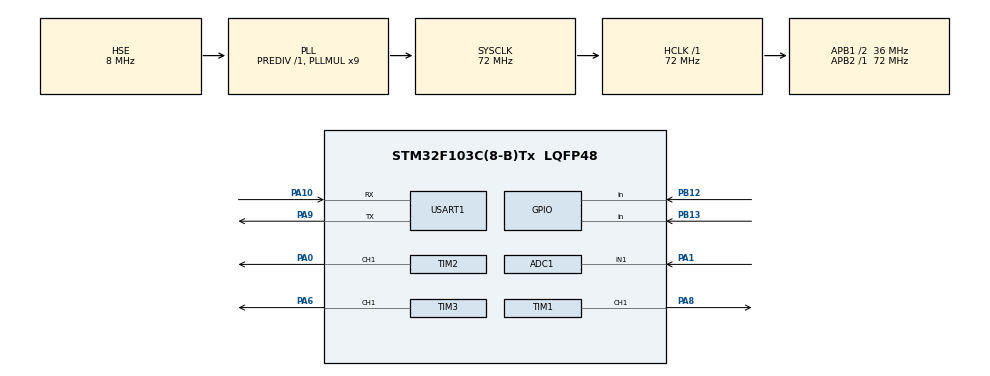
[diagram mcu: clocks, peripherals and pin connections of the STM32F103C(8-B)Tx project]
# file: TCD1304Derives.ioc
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ADC1.Channel-0\#ChannelRegularConversion=ADC_CHANNEL_1
ADC1.ContinuousConvMode=DISABLE
ADC1.ExternalTrigConv=ADC_EXTERNALTRIGCONV_T4_CC4
ADC1.NbrOfConversionFlag=1
ADC1.Rank-0\#ChannelRegularConversion=1
ADC1.SamplingTime-0\#ChannelRegularConversion=ADC_SAMPLETIME_1CYCLE_5
ADC1.master=1
Dma.ADC1.0.Direction=DMA_PERIPH_TO_MEMORY
Dma.ADC1.0.Instance=DMA1_Channel1
Dma.ADC1.0.MemDataAlignment=DMA_MDATAALIGN_HALFWORD
Dma.ADC1.0.MemInc=DMA_MINC_ENABLE
Dma.ADC1.0.Mode=DMA_NORMAL
Dma.ADC1.0.PeriphDataAlignment=DMA_PDATAALIGN_HALFWORD
Dma.ADC1.0.PeriphInc=DMA_PINC_DISABLE
Dma.ADC1.0.Priority=DMA_PRIORITY_VERY_HIGH
Dma.MEMTOMEM.2.Direction=DMA_MEMORY_TO_MEMORY
Dma.MEMTOMEM.2.Instance=DMA1_Channel2
Dma.MEMTOMEM.2.MemDataAlignment=DMA_MDATAALIGN_BYTE
Dma.MEMTOMEM.2.MemInc=DMA_MINC_ENABLE
Dma.MEMTOMEM.2.Mode=DMA_NORMAL
Dma.MEMTOMEM.2.PeriphDataAlignment=DMA_PDATAALIGN_BYTE
Dma.MEMTOMEM.2.PeriphInc=DMA_PINC_ENABLE
Dma.MEMTOMEM.2.Priority=DMA_PRIORITY_HIGH
Dma.Request0=ADC1
Dma.Request1=USART1_TX
Dma.Request2=MEMTOMEM
Dma.USART1_TX.1.Direction=DMA_MEMORY_TO_PERIPH
Dma.USART1_TX.1.Instance=DMA1_Channel4
Dma.USART1_TX.1.MemDataAlignment=DMA_MDATAALIGN_BYTE
Dma.USART1_TX.1.MemInc=DMA_MINC_ENABLE
Dma.USART1_TX.1.Mode=DMA_NORMAL
Dma.USART1_TX.1.PeriphDataAlignment=DMA_PDATAALIGN_BYTE
Dma.USART1_TX.1.PeriphInc=DMA_PINC_DISABLE
Dma.USART1_TX.1.Priority=DMA_PRIORITY_LOW
Mcu.Family=STM32F1
Mcu.Name=STM32F103C(8-B)Tx
Mcu.Package=LQFP48
NVIC.DMA1_Channel1_IRQn=true\:0\:0\:false\:false\:true\:false\:true\:true
NVIC.DMA1_Channel4_IRQn=true\:0\:0\:false\:false\:true\:false\:true\:true
NVIC.PriorityGroup=NVIC_PRIORITYGROUP_4
NVIC.USART1_IRQn=true\:0\:0\:false\:false\:true\:true\:true\:true
PA0-WKUP.Signal=S_TIM2_CH1_ETR
PA1.Signal=ADCx_IN1
PA10.Mode=Asynchronous
PA10.Signal=USART1_RX
PA13.Mode=Serial_Wire
PA13.Signal=SYS_JTMS-SWDIO
PA14.Mode=Serial_Wire
PA14.Signal=SYS_JTCK-SWCLK
PA6.Signal=S_TIM3_CH1
PA8.Signal=S_TIM1_CH1
PA9.Mode=Asynchronous
PA9.Signal=USART1_TX
PB12.GPIO_PuPd=GPIO_PULLUP
PB12.Signal=GPIO_Input
PB13.GPIO_PuPd=GPIO_PULLUP
PB13.Signal=GPIO_Input
PD0-OSC_IN.Mode=HSE-External-Oscillator
PD0-OSC_IN.Signal=RCC_OSC_IN
PD1-OSC_OUT.Mode=HSE-External-Oscillator
PD1-OSC_OUT.Signal=RCC_OSC_OUT
ProjectManager.HeapSize=0x200
ProjectManager.StackSize=0x400
ProjectManager.TargetToolchain=STM32CubeIDE
RCC.ADCPresc=RCC_ADCPCLK2_DIV6
RCC.AHBFreq_Value=72000000
RCC.APB1CLKDivider=RCC_HCLK_DIV2
RCC.APB1Freq_Value=36000000
RCC.APB1TimFreq_Value=72000000
RCC.APB2Freq_Value=72000000
RCC.APB2TimFreq_Value=72000000
RCC.HCLKFreq_Value=72000000
RCC.PLLMUL=RCC_PLL_MUL9
RCC.PLLSourceVirtual=RCC_PLLSOURCE_HSE
RCC.SYSCLKFreq_VALUE=72000000
RCC.SYSCLKSource=RCC_SYSCLKSOURCE_PLLCLK
RCC.USBFreq_Value=72000000
SH.ADCx_IN1.0=ADC1_IN1,IN1
SH.S_TIM1_CH1.0=TIM1_CH1,PWM Generation1 CH1
SH.S_TIM2_CH1_ETR.0=TIM2_CH1,PWM Generation1 CH1
SH.S_TIM3_CH1.0=TIM3_CH1,PWM Generation1 CH1
TIM1.Channel-PWM\ Generation1\ CH1=TIM_CHANNEL_1
TIM1.OCPolarity_1=TIM_OCPOLARITY_HIGH
TIM1.Period=748
TIM1.Pulse-PWM\ Generation1\ CH1=100
TIM2.Channel-PWM\ Generation1\ CH1=TIM_CHANNEL_1
TIM2.Period=36 - 1 
TIM2.Pulse-PWM\ Generation1\ CH1=17
TIM3.Channel-PWM\ Generation1\ CH1=TIM_CHANNEL_1
TIM3.OC1Preload_PWM=ENABLE
TIM3.OCPolarity_1=TIM_OCPOLARITY_LOW
TIM3.Period=424
TIM3.Pulse-PWM\ Generation1\ CH1=136
TIM4.Channel-PWM\ Generation4\ No\ Output=TIM_CHANNEL_4
TIM4.Period=143
TIM4.Pulse-PWM\ Generation4\ No\ Output=71
USART1.VirtualMode=VM_ASYNC
VP_TIM1_VS_ClockSourceINT.Mode=Internal
VP_TIM1_VS_OPM.Mode=OPM_bit
VP_TIM2_VS_ClockSourceINT.Mode=Internal
VP_TIM3_VS_ClockSourceINT.Mode=Internal
VP_TIM3_VS_OPM.Mode=OPM_bit
VP_TIM4_VS_ClockSourceINT.Mode=Internal
VP_TIM4_VS_no_output4.Mode=PWM Generation4 No Output
board=custom

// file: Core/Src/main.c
/* USER CODE BEGIN Header */
/**
  ******************************************************************************
  * @file           : main.c
  * @brief          : Main program body
  ******************************************************************************
  * @attention
  *
  * Copyright (c) 2023 STMicroelectronics.
  * All rights reserved.
  *
  * This software is licensed under terms that can be found in the LICENSE file
  * in the root directory of this software component.
  * If no LICENSE file comes with this software, it is provided AS-IS.
  *
  ******************************************************************************
  */
/* USER CODE END Header */
#include "main.h"
#include "adc.h"
#include "dma.h"
#include "tim.h"
#include "usart.h"
#include "gpio.h"

/* USER CODE BEGIN Includes */
#include "string.h"
#include "Gaussian.h"
#include "KeyScan.h"
#include "OLED.h"

volatile uint8_t DMA_FLAG = 0;
volatile uint16_t CCD_DataBUff[CCD_LENGTH];
volatile uint8_t Uart_CCD_DataBUff[CCD_LENGTH * 2];

volatile CCD_STATUS CCD_Status = IDLE;
Guassian BaselineGaussian_Buff[10] = {0};
Guassian TestLiquidGaussian_Buff[10] = {0};

Guassian BaselineGaussian = {0};
Guassian TestLiquidGaussian = {0};
Guassian ErrGaussian = {0};

//volatile uint16_t CCD_DataBUff[CCD_LENGTH];
/* USER CODE END Includes */

void SystemClock_Config(void);

/* USER CODE BEGIN PFP */
void CCD_GetData(Guassian *_Guassian);

void OLED_ShowCCD_Status(CCD_STATUS Status);

void Get_Err(Guassian *Err, Guassian *B, Guassian *T);
/* USER CODE END PFP */

int main(void) {

    /* MCU Configuration--------------------------------------------------------*/

    /* Reset of all peripherals, Initializes the Flash interface and the Systick. */
    HAL_Init();

    /* Configure the system clock */
    SystemClock_Config();

    /* Initialize all configured peripherals */
    MX_GPIO_Init();
    MX_DMA_Init();
    MX_TIM1_Init();
    MX_TIM2_Init();
    MX_TIM3_Init();
    MX_TIM4_Init();
    MX_ADC1_Init();
    MX_USART1_UART_Init();
    /* USER CODE BEGIN 2 */
    Key_Init();
    OLED_Init();

    HAL_TIM_PWM_Start(&htim2, TIM_CHANNEL_1);//CLK

    HAL_ADC_Start_DMA(&hadc1, (uint32_t *) CCD_DataBUff, CCD_LENGTH);
    HAL_TIM_OnePulse_Start(&htim1, TIM_CHANNEL_1);//ICG
    HAL_TIM_OnePulse_Start(&htim3, TIM_CHANNEL_1);//SH

    HAL_TIM_PWM_Start(&htim4, TIM_CHANNEL_4);

    CCD_Status = IDLE;
    /* 获取基准 */
    /* USER CODE END 2 */

    /* Infinite loop */
    while (1) {

        /* USER CODE BEGIN 3 */
        switch (CCD_Status) {
            case IDLE:
                if (Get_Key2Status() == KEY_ON) {
                    CCD_Status = CLEAR_AND_SET_BASELINE;
                } else if (Get_Key1Status() == KEY_ON) {
                    CCD_Status = START_MEASUREMENT;
                }
                break;
            case CLEAR_AND_SET_BASELINE:
                CCD_GetData(&BaselineGaussian);
                while (DMA_FLAG == 1);
                if (Get_Key2Status() == KEY_ON) {
                    CCD_Status = IDLE;
                } else if (Get_Key1Status() == KEY_ON) {
                    CCD_Status = START_MEASUREMENT;
                }
                break;
            case START_MEASUREMENT:
                CCD_GetData(&TestLiquidGaussian);
                while (DMA_FLAG == 1);
                CCD_Status = OVER;
                break;
            case OVER:
                Get_Err(&ErrGaussian, &BaselineGaussian, &TestLiquidGaussian);

                OLED_ShowSignedNum(0, 16, (ErrGaussian.a) * 10000, 6, 16);
                OLED_ShowSignedNum(0, 32, ErrGaussian.b, 6, 16);
                OLED_ShowSignedNum(0, 48, ErrGaussian.c, 8, 16);
                OLED_ReDraw();
                while (1) {
                    if (Get_Key2Status() == KEY_ON) {
                        CCD_Status = IDLE;
                        OLED_ClearBuff();
                        OLED_Clear();
                        break;
                    }

                }
        }
        OLED_ShowCCD_Status(CCD_Status);
        OLED_ReDraw();
    }
    /* USER CODE END 3 */
}

void SystemClock_Config(void) {
    RCC_OscInitTypeDef RCC_OscInitStruct = {0};
    RCC_ClkInitTypeDef RCC_ClkInitStruct = {0};
    RCC_PeriphCLKInitTypeDef PeriphClkInit = {0};

    /** Initializes the RCC Oscillators according to the specified parameters
    * in the RCC_OscInitTypeDef structure.
    */
    RCC_OscInitStruct.OscillatorType = RCC_OSCILLATORTYPE_HSE;
    RCC_OscInitStruct.HSEState = RCC_HSE_ON;
    RCC_OscInitStruct.HSEPredivValue = RCC_HSE_PREDIV_DIV1;
    RCC_OscInitStruct.HSIState = RCC_HSI_ON;
    RCC_OscInitStruct.PLL.PLLState = RCC_PLL_ON;
    RCC_OscInitStruct.PLL.PLLSource = RCC_PLLSOURCE_HSE;
    RCC_OscInitStruct.PLL.PLLMUL = RCC_PLL_MUL9;
    if (HAL_RCC_OscConfig(&RCC_OscInitStruct) != HAL_OK) {
        Error_Handler();
    }

    /** Initializes the CPU, AHB and APB buses clocks
    */
    RCC_ClkInitStruct.ClockType = RCC_CLOCKTYPE_HCLK | RCC_CLOCKTYPE_SYSCLK
                                  | RCC_CLOCKTYPE_PCLK1 | RCC_CLOCKTYPE_PCLK2;
    RCC_ClkInitStruct.SYSCLKSource = RCC_SYSCLKSOURCE_PLLCLK;
    RCC_ClkInitStruct.AHBCLKDivider = RCC_SYSCLK_DIV1;
    RCC_ClkInitStruct.APB1CLKDivider = RCC_HCLK_DIV2;
    RCC_ClkInitStruct.APB2CLKDivider = RCC_HCLK_DIV1;

    if (HAL_RCC_ClockConfig(&RCC_ClkInitStruct, FLASH_LATENCY_2) != HAL_OK) {
        Error_Handler();
    }
    PeriphClkInit.PeriphClockSelection = RCC_PERIPHCLK_ADC;
    PeriphClkInit.AdcClockSelection = RCC_ADCPCLK2_DIV6;
    if (HAL_RCCEx_PeriphCLKConfig(&PeriphClkInit) != HAL_OK) {
        Error_Handler();
    }
}

/* USER CODE BEGIN 4 */
void HAL_ADC_ConvCpltCallback(ADC_HandleTypeDef *hadc) {
    if (hadc == &hadc1) {
        DMA_FLAG = 0;
        HAL_DMA_Start(&hdma_memtomem_dma1_channel2, (uint32_t) CCD_DataBUff, (uint32_t) Uart_CCD_DataBUff,
                      CCD_LENGTH * 2);
        HAL_UART_Transmit_DMA(&huart1, (uint8_t *) Uart_CCD_DataBUff, CCD_LENGTH * 2);
    }
}

void HAL_UART_TxCpltCallback(UART_HandleTypeDef *huart) {
    const uint8_t Data[] = "数据传输完成 \r\n";
    if (huart == &huart1) {
        HAL_UART_Transmit(&huart1, Data, sizeof(Data), 20);
    }
}

#if 0
void CCD_GetData(Guassian *_Guassian) {

    Guassian Guassian_Buff[10];
    for (int i = 0; i < 10; ++i) {

        __HAL_TIM_ENABLE(&htim1);
        __HAL_TIM_ENABLE(&htim3);
        HAL_ADC_Start_DMA(&hadc1, (uint32_t *) CCD_DataBUff, CCD_LENGTH);
        Guassian_Func((uint16_t *) CCD_DataBUff, CCD_LENGTH, (Guassian *) &Guassian_Buff[i]);
    }
    for (int i = 0; i < 10; ++i) {
        _Guassian->c += Guassian_Buff[i].c;
        _Guassian->u += Guassian_Buff[i].u;
        _Guassian->a += Guassian_Buff[i].a;
        _Guassian->o += Guassian_Buff[i].o;
        _Guassian->b += Guassian_Buff[i].b;
        _Guassian->o2 += Guassian_Buff[i].o2;

    }
    _Guassian->c /= 10;
    _Guassian->u /= 10;
    _Guassian->a /= 10;
    _Guassian->o /= 10;
    _Guassian->b /= 10;
    _Guassian->o2 /= 10;

}
#else

void OLED_ShowCCD_Status(CCD_STATUS Status) {
    switch (Status) {
        case IDLE:
            OLED_ShowString(0, 0, "IDLE ", 16);
            break;
        case CLEAR_AND_SET_BASELINE:
            OLED_ShowString(0, 0, "CLEAR", 16);
            break;
        case START_MEASUREMENT:
            OLED_ShowString(0, 0, "START", 16);
            break;
        case OVER:
            OLED_ShowString(0, 0, "OVER ", 16);
            break;
    }
}

/**
 * 开始产生CCD驱动信号
 * @param _Guassian
 */
void CCD_GetData(Guassian *_Guassian) {
    DMA_FLAG = 1;
    __HAL_TIM_ENABLE(&htim1);
    __HAL_TIM_ENABLE(&htim3);
    HAL_ADC_Start_DMA(&hadc1, (uint32_t *) CCD_DataBUff, CCD_LENGTH);
    Guassian_Func((uint16_t *) CCD_DataBUff, CCD_LENGTH, _Guassian);
}

void Get_Err(Guassian *Err, Guassian *B, Guassian *T) {
    Err->u = (T->u) - (B->u);
    Err->o = (T->o) - (B->o);
    Err->a = (T->a) - (B->a);
    Err->b = (T->b) - (B->b);
    Err->c = (T->c) - (B->c);
    Err->o2 = (T->o2) - (B->o2);
}

#endif

/* USER CODE END 4 */

void Error_Handler(void) {
    __disable_irq();
    while (1) {
    }
}
